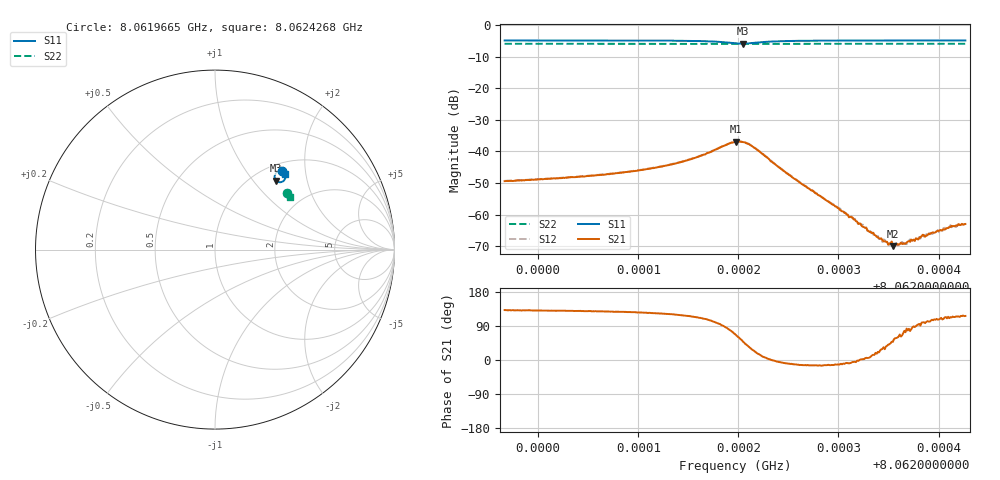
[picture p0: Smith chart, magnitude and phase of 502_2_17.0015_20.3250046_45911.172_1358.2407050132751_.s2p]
#  HZ  S  RI  R  50.00
! Rohde & Schwarz Vector Network Analyzer
! Rohde-Schwarz,ZNB20-2Port,1311601062101988,3.16
! Created: UTC 3/20/2024, 11:14:38 PM
! freq[Hz]  re:S11  im:S11  re:S21  im:S21  re:S12  im:S12  re:S22  im:S22
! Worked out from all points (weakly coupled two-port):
!   401 points, 8.0619665 GHz to 8.0624268 GHz, reference 50 ohm
!   highest |S21| = -36.88 dB at 8.0621978 GHz (marker M1); lowest = -70.0 dB at 8.0623543 GHz (marker M2)
!   lowest |S11| = -5.8 dB at 8.0622047 GHz (marker M3), VSWR 3.11, Z = 63.2 + j66 ohm
!   |S11| at or under -10 dB: nowhere
!   |S22| runs from -5.9 to -5.8 dB; largest |S21 - S12| = 0.00098
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8.06196649e9  0.3748 0.4375  -0.00225 0.00252  -0.00211 0.00269  0.4026 0.3133
8.06204358e9  0.3808 0.4317  -0.00252 0.0031  -0.00238 0.00326  0.4054 0.3094
8.06208731e9  0.3849 0.4267  -0.00283 0.00376  -0.0026 0.00395  0.4071 0.3072
8.06212068e9  0.3885 0.4209  -0.00309 0.00476  -0.00284 0.00499  0.4083 0.3052
8.06215405e9  0.392 0.4095  -0.00319 0.00697  -0.00276 0.00722  0.4094 0.3031
8.06219663e9  0.3598 0.3755  0.00518 0.0131  0.00614 0.0129  0.4089 0.3001
8.06219778e9  0.357 0.3758  0.00598 0.013  0.00675 0.0125  0.4087 0.3001
8.06220468e9  0.3407 0.3844  0.00935 0.0105  0.01 0.0101  0.4084 0.3003
8.06221619e9  0.3326 0.4109  0.0105 0.00443  0.0109 0.00378  0.4089 0.3011
8.06224381e9  0.3558 0.4349  0.0051 -0.000632  0.00508 -0.00094  0.411 0.3006
8.06227372e9  0.3698 0.4349  0.00233 -0.000583  0.00234 -0.00072  0.4127 0.2988
8.062314e9  0.3786 0.4317  0.000894 -8.21e-05  0.000866 -0.000152  0.4144 0.2967
8.06233816e9  0.3822 0.4297  0.000426 0.000128  0.000432 9.59e-05  0.4154 0.2953
8.06234737e9  0.3832 0.4291  0.000299 0.000216  0.000317 0.000177  0.4156 0.2949
8.06235082e9  0.3835 0.4289  0.00026 0.000232  0.000264 0.000203  0.4158 0.2947
8.06235427e9  0.3839 0.4285  0.000214 0.000235  0.000243 0.000215  0.4158 0.2945
8.06236578e9  0.3851 0.4276  7.73e-05 0.000334  0.000127 0.000331  0.4163 0.2938
8.06238419e9  0.3868 0.4265  -7.71e-05 0.000471  -3.21e-05 0.000436  0.417 0.2929
8.06238994e9  0.3875 0.426  -9.75e-05 0.000484  -8.14e-05 0.000523  0.4173 0.2925
8.0623957e9  0.3878 0.4256  -0.000151 0.000491  -9.31e-05 0.000517  0.4173 0.2923
8.06241296e9  0.3893 0.4246  -0.00025 0.000612  -0.000214 0.00059  0.418 0.2913
8.06242677e9  0.3903 0.4236  -0.000312 0.000634  -0.000271 0.000655  0.4185 0.2908
